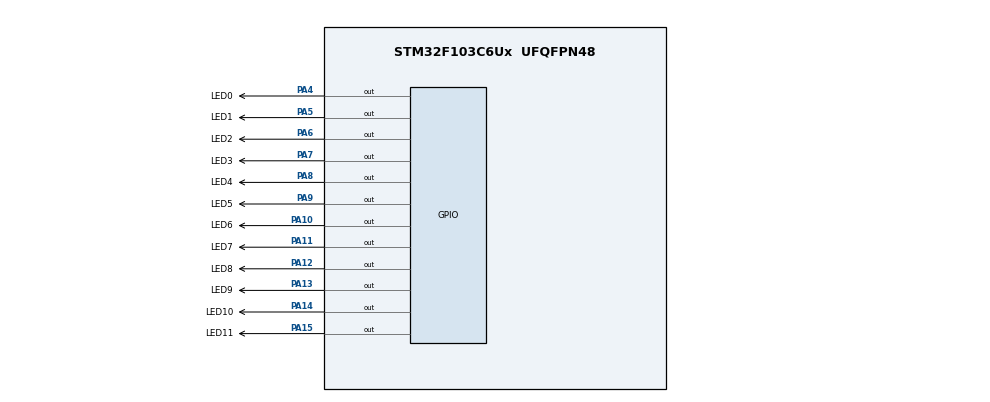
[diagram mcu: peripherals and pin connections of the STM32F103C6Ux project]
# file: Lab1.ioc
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Mcu.Family=STM32F1
Mcu.Name=STM32F103C6Ux
Mcu.Package=UFQFPN48
NVIC.PriorityGroup=NVIC_PRIORITYGROUP_4
PA10.GPIO_Label=LED6
PA10.Signal=GPIO_Output
PA11.GPIO_Label=LED7
PA11.Signal=GPIO_Output
PA12.GPIO_Label=LED8
PA12.Signal=GPIO_Output
PA13.GPIO_Label=LED9
PA13.Signal=GPIO_Output
PA14.GPIO_Label=LED10
PA14.Signal=GPIO_Output
PA15.GPIO_Label=LED11
PA15.Signal=GPIO_Output
PA4.GPIO_Label=LED0
PA4.Signal=GPIO_Output
PA5.GPIO_Label=LED1
PA5.Signal=GPIO_Output
PA6.GPIO_Label=LED2
PA6.Signal=GPIO_Output
PA7.GPIO_Label=LED3
PA7.Signal=GPIO_Output
PA8.GPIO_Label=LED4
PA8.Signal=GPIO_Output
PA9.GPIO_Label=LED5
PA9.Signal=GPIO_Output
ProjectManager.HeapSize=0x200
ProjectManager.StackSize=0x400
ProjectManager.TargetToolchain=STM32CubeIDE
RCC.APB1Freq_Value=8000000
RCC.APB2Freq_Value=8000000
VP_SYS_VS_ND.Mode=No_Debug
board=custom

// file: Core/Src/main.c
/* USER CODE BEGIN Header */
/**
  ******************************************************************************
  * @file           : main.c
  * @brief          : Main program body
  ******************************************************************************
  * @attention
  *
  * <h2><center>&copy; Copyright (c) 2023 STMicroelectronics.
  * All rights reserved.</center></h2>
  *
  * This software component is licensed by ST under BSD 3-Clause license,
  * the "License"; You may not use this file except in compliance with the
  * License. You may obtain a copy of the License at:
  *                        opensource.org/licenses/BSD-3-Clause
  *
  ******************************************************************************
  */
/* USER CODE END Header */
#include "main.h"

void SystemClock_Config(void);
static void MX_GPIO_Init(void);

/* USER CODE BEGIN 0 */
void turnOnLedSeq(int num){
	if(num==0){
		HAL_GPIO_TogglePin(LED0_GPIO_Port, LED0_Pin);
	}
	if(num==1){
		HAL_GPIO_TogglePin(LED1_GPIO_Port, LED1_Pin);
	}
	if(num==2){
		HAL_GPIO_TogglePin(LED2_GPIO_Port, LED2_Pin);
	}
	if(num==3){
		HAL_GPIO_TogglePin(LED3_GPIO_Port, LED3_Pin);
	}
	if(num==4){
		HAL_GPIO_TogglePin(LED4_GPIO_Port, LED4_Pin);
	}
	if(num==5){
		HAL_GPIO_TogglePin(LED5_GPIO_Port, LED5_Pin);
	}
	if(num==6){
		HAL_GPIO_TogglePin(LED6_GPIO_Port, LED6_Pin);
	}
	if(num==7){
		HAL_GPIO_TogglePin(LED7_GPIO_Port, LED7_Pin);
	}
	if(num==8){
		HAL_GPIO_TogglePin(LED8_GPIO_Port, LED8_Pin);
	}
	if(num==9){
		HAL_GPIO_TogglePin(LED9_GPIO_Port, LED9_Pin);
	}
	if(num==10){
		HAL_GPIO_TogglePin(LED10_GPIO_Port, LED10_Pin);
	}
	if(num==11){
		HAL_GPIO_TogglePin(LED11_GPIO_Port, LED11_Pin);
	}
}
void clearAllClock () {
	HAL_GPIO_WritePin(LED0_GPIO_Port, LED0_Pin, SET);
	HAL_GPIO_WritePin(LED1_GPIO_Port, LED1_Pin, SET);
	HAL_GPIO_WritePin(LED2_GPIO_Port, LED2_Pin, SET);
	HAL_GPIO_WritePin(LED3_GPIO_Port, LED3_Pin, SET);
	HAL_GPIO_WritePin(LED4_GPIO_Port, LED4_Pin, SET);
	HAL_GPIO_WritePin(LED5_GPIO_Port, LED5_Pin, SET);
	HAL_GPIO_WritePin(LED6_GPIO_Port, LED6_Pin, SET);
	HAL_GPIO_WritePin(LED7_GPIO_Port, LED7_Pin, SET);
	HAL_GPIO_WritePin(LED8_GPIO_Port, LED8_Pin, SET);
	HAL_GPIO_WritePin(LED9_GPIO_Port, LED9_Pin, SET);
	HAL_GPIO_WritePin(LED10_GPIO_Port, LED10_Pin, SET);
	HAL_GPIO_WritePin(LED11_GPIO_Port, LED11_Pin, SET);
}
void setNumberOnClock(int num){
	if(num==0){
		HAL_GPIO_WritePin(LED0_GPIO_Port, LED0_Pin, RESET);
	}
	if(num==1){
		HAL_GPIO_WritePin(LED1_GPIO_Port, LED1_Pin, RESET);
	}
	if(num==2){
		HAL_GPIO_WritePin(LED2_GPIO_Port, LED2_Pin, RESET);
	}
	if(num==3){
		HAL_GPIO_WritePin(LED3_GPIO_Port, LED3_Pin, RESET);
	}
	if(num==4){
		HAL_GPIO_WritePin(LED4_GPIO_Port, LED4_Pin, RESET);
	}
	if(num==5){
		HAL_GPIO_WritePin(LED5_GPIO_Port, LED5_Pin, RESET);
	}
	if(num==6){
		HAL_GPIO_WritePin(LED6_GPIO_Port, LED6_Pin, RESET);
	}
	if(num==7){
		HAL_GPIO_WritePin(LED7_GPIO_Port, LED7_Pin, RESET);
	}
	if(num==8){
		HAL_GPIO_WritePin(LED8_GPIO_Port, LED8_Pin, RESET);
	}
	if(num==9){
		HAL_GPIO_WritePin(LED9_GPIO_Port, LED9_Pin, RESET);
	}
	if(num==10){
		HAL_GPIO_WritePin(LED10_GPIO_Port, LED10_Pin, RESET);
	}
	if(num==11){
		HAL_GPIO_WritePin(LED11_GPIO_Port, LED11_Pin, RESET);
	}
}
void clearNumberOnClock(int num){
	if(num==0){
		HAL_GPIO_WritePin(LED0_GPIO_Port, LED0_Pin, SET);
	}
	if(num==1){
		HAL_GPIO_WritePin(LED1_GPIO_Port, LED1_Pin, SET);
	}
	if(num==2){
		HAL_GPIO_WritePin(LED2_GPIO_Port, LED2_Pin, SET);
	}
	if(num==3){
		HAL_GPIO_WritePin(LED3_GPIO_Port, LED3_Pin, SET);
	}
	if(num==4){
		HAL_GPIO_WritePin(LED4_GPIO_Port, LED4_Pin, SET);
	}
	if(num==5){
		HAL_GPIO_WritePin(LED5_GPIO_Port, LED5_Pin, SET);
	}
	if(num==6){
		HAL_GPIO_WritePin(LED6_GPIO_Port, LED6_Pin, SET);
	}
	if(num==7){
		HAL_GPIO_WritePin(LED7_GPIO_Port, LED7_Pin, SET);
	}
	if(num==8){
		HAL_GPIO_WritePin(LED8_GPIO_Port, LED8_Pin, SET);
	}
	if(num==9){
		HAL_GPIO_WritePin(LED9_GPIO_Port, LED9_Pin, SET);
	}
	if(num==10){
		HAL_GPIO_WritePin(LED10_GPIO_Port, LED10_Pin, SET);
	}
	if(num==11){
		HAL_GPIO_WritePin(LED11_GPIO_Port, LED11_Pin, SET);
	}
}
/* USER CODE END 0 */

int main(void)
{

  /* MCU Configuration--------------------------------------------------------*/

  /* Reset of all peripherals, Initializes the Flash interface and the Systick. */
  HAL_Init();

  /* Configure the system clock */
  SystemClock_Config();

  /* Initialize all configured peripherals */
  MX_GPIO_Init();

  /* Infinite loop */
  /* USER CODE BEGIN WHILE */
  int hour=2;
  int min=59;
  int sec=50;
  while (1)
  {
	  clearAllClock();
	  if (sec>=60){
		  sec=0;
		  min++;
	  }
	  if(min>=60){
		  min=0;
		  hour++;
	  }
	  setNumberOnClock(hour);
	  setNumberOnClock(min/5);
	  setNumberOnClock(sec/5);
	  sec++;
	  HAL_Delay(1000);
    /* USER CODE END WHILE */

  }
}

void SystemClock_Config(void)
{
  RCC_OscInitTypeDef RCC_OscInitStruct = {0};
  RCC_ClkInitTypeDef RCC_ClkInitStruct = {0};

  /** Initializes the RCC Oscillators according to the specified parameters
  * in the RCC_OscInitTypeDef structure.
  */
  RCC_OscInitStruct.OscillatorType = RCC_OSCILLATORTYPE_HSI;
  RCC_OscInitStruct.HSIState = RCC_HSI_ON;
  RCC_OscInitStruct.HSICalibrationValue = RCC_HSICALIBRATION_DEFAULT;
  RCC_OscInitStruct.PLL.PLLState = RCC_PLL_NONE;
  if (HAL_RCC_OscConfig(&RCC_OscInitStruct) != HAL_OK)
  {
    Error_Handler();
  }
  /** Initializes the CPU, AHB and APB buses clocks
  */
  RCC_ClkInitStruct.ClockType = RCC_CLOCKTYPE_HCLK|RCC_CLOCKTYPE_SYSCLK
                              |RCC_CLOCKTYPE_PCLK1|RCC_CLOCKTYPE_PCLK2;
  RCC_ClkInitStruct.SYSCLKSource = RCC_SYSCLKSOURCE_HSI;
  RCC_ClkInitStruct.AHBCLKDivider = RCC_SYSCLK_DIV1;
  RCC_ClkInitStruct.APB1CLKDivider = RCC_HCLK_DIV1;
  RCC_ClkInitStruct.APB2CLKDivider = RCC_HCLK_DIV1;

  if (HAL_RCC_ClockConfig(&RCC_ClkInitStruct, FLASH_LATENCY_0) != HAL_OK)
  {
    Error_Handler();
  }
}

static void MX_GPIO_Init(void)
{
  GPIO_InitTypeDef GPIO_InitStruct = {0};

  /* GPIO Ports Clock Enable */
  __HAL_RCC_GPIOA_CLK_ENABLE();

  /*Configure GPIO pin Output Level */
  HAL_GPIO_WritePin(GPIOA, LED0_Pin|LED1_Pin|LED2_Pin|LED3_Pin
                          |LED4_Pin|LED5_Pin|LED6_Pin|LED7_Pin
                          |LED8_Pin|LED9_Pin|LED10_Pin|LED11_Pin, GPIO_PIN_RESET);

  /*Configure GPIO pins : LED0_Pin LED1_Pin LED2_Pin LED3_Pin
                           LED4_Pin LED5_Pin LED6_Pin LED7_Pin
                           LED8_Pin LED9_Pin LED10_Pin LED11_Pin */
  GPIO_InitStruct.Pin = LED0_Pin|LED1_Pin|LED2_Pin|LED3_Pin
                          |LED4_Pin|LED5_Pin|LED6_Pin|LED7_Pin
                          |LED8_Pin|LED9_Pin|LED10_Pin|LED11_Pin;
  GPIO_InitStruct.Mode = GPIO_MODE_OUTPUT_PP;
  GPIO_InitStruct.Pull = GPIO_NOPULL;
  GPIO_InitStruct.Speed = GPIO_SPEED_FREQ_LOW;
  HAL_GPIO_Init(GPIOA, &GPIO_InitStruct);

}

void Error_Handler(void)
{
  __disable_irq();
  while (1)
  {
  }
}

/************************ (C) COPYRIGHT STMicroelectronics *****END OF FILE****/
